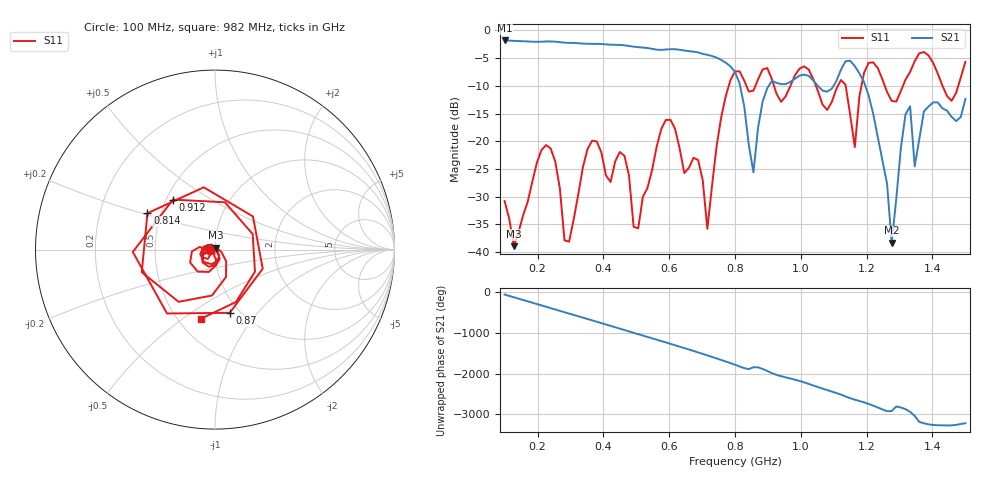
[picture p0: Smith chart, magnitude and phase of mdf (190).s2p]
! NanoVNA-App
! Date: 2025-09-25 15:39:54
! Start: 100MHz Stop: 1,5GHz Points: 101
! S-Parameter data: F S11 S21 S12 S22
# Hz S RI R 50
!  Frequency  S11_Real  S11_Imag  S21_Real  S21_Imag  S12_Real  S12_Imag  S22_Real  S22_Imag
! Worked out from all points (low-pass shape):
!   101 points, 100 MHz to 1.5 GHz, reference 50 ohm
!   highest |S21| = -1.80 dB at 100 MHz (marker M1); lowest = -38.3 dB at 1.276 GHz (marker M2)
!   |S21| within 3 dB of the highest: start of sweep to 739.2 MHz
!   lowest |S11| = -38.9 dB at 128 MHz (marker M3), VSWR 1.02, Z = 50.3 + j1.08 ohm
!   |S11| at or under -10 dB: start of sweep to 781.1 MHz; 918.5 MHz to 968.4 MHz (49.86 MHz wide, 5.28 % of centre); 1.046 GHz to 1.113 GHz (66.95 MHz wide, 6.2 % of centre) (the widest 3 of 7)
!   S12 and S22 are empty: the file has one direction only
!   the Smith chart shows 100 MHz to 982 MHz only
!   S11 on the Smith chart (normalised r, x): 100 MHz: 0.94, -0.01; 814 MHz: 0.42, +0.21; 870 MHz: 0.90, -0.73; 912 MHz: 0.54, +0.35; 982 MHz: 0.64, -0.59
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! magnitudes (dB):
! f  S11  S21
! 100 MHz  -30.8  -1.8
! 128 MHz  -38.9  -1.9
! 212 MHz  -21.6  -2.0
! 282 MHz  -37.9  -2.2
! 338 MHz  -24.6  -2.4
! 464 MHz  -22.6  -2.7
! 506 MHz  -35.7  -3.0
! 576 MHz  -17.8  -3.5
! 716 MHz  -35.8  -4.4
! 800 MHz  -7.4  -7.5
! 814 MHz  -7.4  -9.6
! 856 MHz  -10.9  -25.6
! 870 MHz  -8.8  -17.6
! 912 MHz  -8.8  -9.1
! 982 MHz  -8.1  -8.7
! 1.038 GHz  -8.8  -9.0
! 1.164 GHz  -21.1  -6.4
! 1.192 GHz  -7.7  -9.3
! 1.276 GHz  -12.7  -38.3
! 1.318 GHz  -8.9  -15.2
! 1.346 GHz  -5.5  -24.5
! 1.5 GHz  -5.7  -12.4
